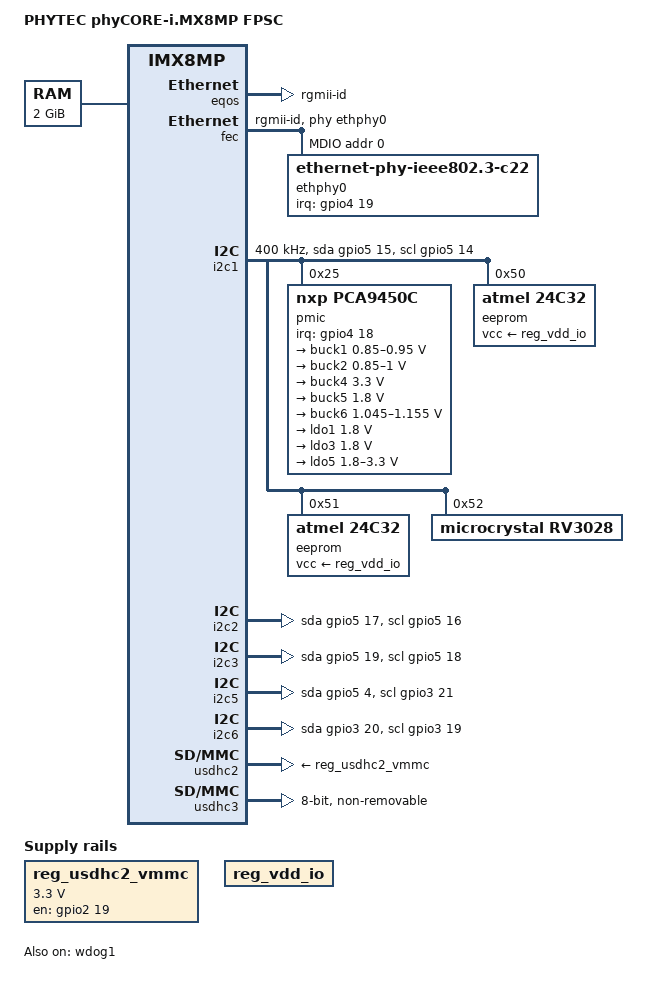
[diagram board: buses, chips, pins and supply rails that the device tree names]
// SPDX-License-Identifier: (GPL-2.0-or-later OR MIT)
/*
 * Copyright (C) 2025 PHYTEC Messtechnik GmbH
 */

#include <dt-bindings/net/ti-dp83867.h>
#include "imx8mp.dtsi"

/ {
	compatible = "phytec,imx8mp-phycore-fpsc", "fsl,imx8mp";
	model = "PHYTEC phyCORE-i.MX8MP FPSC";

	aliases {
		rtc0 = &rv3028;
		rtc1 = &snvs_rtc;
	};

	memory@40000000 {
		device_type = "memory";
		reg = <0x0 0x40000000 0x0 0x80000000>;
	};

	reg_usdhc2_vmmc: regulator-usdhc2 {
		 compatible = "regulator-fixed";
		 off-on-delay-us = <12000>;
		 pinctrl-0 = <&pinctrl_reg_usdhc2_vmmc>;
		 pinctrl-names = "default";
		 regulator-max-microvolt = <3300000>;
		 regulator-min-microvolt = <3300000>;
		 regulator-name = "VDDSW_SD2";
		 startup-delay-us = <100>;
		 gpio = <&gpio2 19 GPIO_ACTIVE_HIGH>;
		 enable-active-high;
	 };

	reg_vdd_io: regulator-vdd-io {
		compatible = "regulator-fixed";
		regulator-always-on;
		regulator-boot-on;
		regulator-name = "VDD_IO";
	};
};

&A53_0 {
	cpu-supply = <&buck2>;
};

&A53_1 {
	cpu-supply = <&buck2>;
};

&A53_2 {
	cpu-supply = <&buck2>;
};

&A53_3 {
	cpu-supply = <&buck2>;
};

&ecspi1 { /* FPSC SPI1 */
	pinctrl-0 = <&pinctrl_ecspi1>;
	pinctrl-names = "default";
};

&ecspi2 { /* FPSC SPI2 */
	pinctrl-0 = <&pinctrl_ecspi2>;
	pinctrl-names = "default";
};

&ecspi3 { /* FPSC SPI3 */
	pinctrl-0 = <&pinctrl_ecspi3>;
	pinctrl-names = "default";
};

&eqos { /* FPSC RGMII2 */
	phy-mode = "rgmii-id";
	pinctrl-0 = <&pinctrl_eqos>;
	pinctrl-names = "default";
};

&fec { /* FPSC GB_ETH1 */
	phy-handle = <&ethphy0>;
	phy-mode = "rgmii-id";
	pinctrl-0 = <&pinctrl_fec>;
	pinctrl-names = "default";
	fsl,magic-packet;
	status = "okay";

	mdio {
		#address-cells = <1>;
		#size-cells = <0>;

		ethphy0: ethernet-phy@0 {
			compatible = "ethernet-phy-ieee802.3-c22";
			reg = <0>;
			interrupt-parent = <&gpio4>;
			interrupts = <19 IRQ_TYPE_LEVEL_LOW>;
			enet-phy-lane-no-swap;
			ti,clk-output-sel = <DP83867_CLK_O_SEL_OFF>;
			ti,fifo-depth = <DP83867_PHYCR_FIFO_DEPTH_4_B_NIB>;
			ti,min-output-impedance;
			ti,rx-internal-delay = <DP83867_RGMIIDCTL_1_50_NS>;
			ti,tx-internal-delay = <DP83867_RGMIIDCTL_1_50_NS>;
		};
	};
};

&flexcan1 { /* FPSC CAN1 */
	pinctrl-0 = <&pinctrl_flexcan1>;
	pinctrl-names = "default";
};

&flexcan2 { /* FPSC CAN2 */
	pinctrl-0 = <&pinctrl_flexcan2>;
	pinctrl-names = "default";
};

&flexspi { /* FPSC QSPI */
	pinctrl-0 = <&pinctrl_flexspi>;
	pinctrl-names = "default";
};

&gpio1 {
	gpio-line-names = "", "", "", "", "",
			  "", "", "", "PCIE1_nPERST";
};

&gpio2 {
	gpio-line-names = "", "", "", "", "",
			  "", "", "", "", "",
			  "", "", "", "", "",
			  "", "", "", "", "SD2_RESET_B";
};

&gpio3 {
	gpio-line-names = "", "", "", "", "",
			  "", "", "", "", "",
			  "", "", "", "", "",
			  "", "", "", "", "I2C6_SCL",
			  "I2C6_SDA", "I2C5_SCL";
};

&gpio4 { /* FPSC GPIO */
	gpio-line-names = "GPIO6", "RGMII2_nINT", "GPIO7", "GPIO4", "",
			  "", "", "", "", "",
			  "", "", "", "", "",
			  "", "", "", "X_PMIC_IRQ_B", "",
			  "", "GPIO5", "", "", "RGMII2_EVENT_OUT",
			  "", "", "RGMII2_EVENT_IN";
	pinctrl-0 = <&pinctrl_gpio4>;
	pinctrl-names = "default";
};

&gpio5 { /* FPSC GPIO */
	gpio-line-names = "", "", "", "", "I2C5_SDA",
			  "GPIO1", "", "", "", "SPI1_CS",
			  "", "", "", "SPI2_CS", "I2C1_SCL",
			  "I2C1_SDA", "I2C2_SCL", "I2C2_SDA", "I2C3_SCL", "I2C3_SDA",
			  "", "GPIO2", "", "", "SPI3_CS",
			  "", "GPIO3";
	pinctrl-0 = <&pinctrl_gpio5>;
	pinctrl-names = "default";
};

&i2c1 { /* FPSC I2C1 */
	clock-frequency = <400000>;
	pinctrl-0 = <&pinctrl_i2c1>;
	pinctrl-1 = <&pinctrl_i2c1_gpio>;
	pinctrl-names = "default", "gpio";
	scl-gpios = <&gpio5 14 (GPIO_ACTIVE_HIGH | GPIO_OPEN_DRAIN)>;
	sda-gpios = <&gpio5 15 (GPIO_ACTIVE_HIGH | GPIO_OPEN_DRAIN)>;
	status = "okay";

	pmic: pmic@25 {
		compatible = "nxp,pca9450c";
		reg = <0x25>;
		interrupt-parent = <&gpio4>;
		interrupts = <18 IRQ_TYPE_LEVEL_LOW>;
		pinctrl-0 = <&pinctrl_pmic>;
		pinctrl-names = "default";

		regulators {
			buck1: BUCK1 {
				regulator-always-on;
				regulator-boot-on;
				regulator-max-microvolt = <950000>;
				regulator-min-microvolt = <850000>;
				regulator-name = "VDD_SOC (BUCK1)";
				regulator-ramp-delay = <3125>;
			};

			buck2: BUCK2 {
				regulator-always-on;
				regulator-boot-on;
				regulator-max-microvolt = <1000000>;
				regulator-min-microvolt = <850000>;
				regulator-name = "VDD_ARM (BUCK2)";
				regulator-ramp-delay = <3125>;
				nxp,dvs-run-voltage = <950000>;
				nxp,dvs-standby-voltage = <850000>;
			};

			buck4: BUCK4 {
				regulator-always-on;
				regulator-boot-on;
				regulator-max-microvolt = <3300000>;
				regulator-min-microvolt = <3300000>;
				regulator-name = "VDD_3V3 (BUCK4)";
			};

			buck5: BUCK5 {
				regulator-always-on;
				regulator-boot-on;
				regulator-max-microvolt = <1800000>;
				regulator-min-microvolt = <1800000>;
				regulator-name = "VDD_1V8 (BUCK5)";
			};

			buck6: BUCK6 {
				regulator-always-on;
				regulator-boot-on;
				regulator-max-microvolt = <1155000>;
				regulator-min-microvolt = <1045000>;
				regulator-name = "NVCC_DRAM_1V1 (BUCK6)";
			};

			ldo1: LDO1 {
				regulator-always-on;
				regulator-boot-on;
				regulator-max-microvolt = <1800000>;
				regulator-min-microvolt = <1800000>;
				regulator-name = "NVCC_SNVS_1V8 (LDO1)";
			};

			ldo3: LDO3 {
				regulator-always-on;
				regulator-boot-on;
				regulator-max-microvolt = <1800000>;
				regulator-min-microvolt = <1800000>;
				regulator-name = "VDDA_1V8 (LDO3)";
			};

			ldo5: LDO5 {
				regulator-always-on;
				regulator-boot-on;
				regulator-max-microvolt = <3300000>;
				regulator-min-microvolt = <1800000>;
				regulator-name = "NVCC_SD2 (LDO5)";
			};
		};
	};

	/* User EEPROM */
	eeprom@50 {
		compatible = "atmel,24c32";
		reg = <0x50>;
		pagesize = <32>;
		vcc-supply = <&reg_vdd_io>;
	};

	/* factory EEPROM */
	eeprom@51 {
		compatible = "atmel,24c32";
		reg = <0x51>;
		pagesize = <32>;
		read-only;
		vcc-supply = <&reg_vdd_io>;
	};

	rv3028: rtc@52 {
		compatible = "microcrystal,rv3028";
		reg = <0x52>;
	};
};

&i2c2 { /* FPSC I2C2 */
	pinctrl-0 = <&pinctrl_i2c2>;
	pinctrl-1 = <&pinctrl_i2c2_gpio>;
	pinctrl-names = "default", "gpio";
	scl-gpios = <&gpio5 16 (GPIO_ACTIVE_HIGH | GPIO_OPEN_DRAIN)>;
	sda-gpios = <&gpio5 17 (GPIO_ACTIVE_HIGH | GPIO_OPEN_DRAIN)>;
};

&i2c3 { /* FPSC I2C3 */
	pinctrl-0 = <&pinctrl_i2c3>;
	pinctrl-1 = <&pinctrl_i2c3_gpio>;
	pinctrl-names = "default", "gpio";
	scl-gpios = <&gpio5 18 (GPIO_ACTIVE_HIGH | GPIO_OPEN_DRAIN)>;
	sda-gpios = <&gpio5 19 (GPIO_ACTIVE_HIGH | GPIO_OPEN_DRAIN)>;
};

&i2c5 { /* FPSC I2C4 */
	pinctrl-0 = <&pinctrl_i2c5>;
	pinctrl-1 = <&pinctrl_i2c5_gpio>;
	pinctrl-names = "default", "gpio";
	scl-gpios = <&gpio3 21 (GPIO_ACTIVE_HIGH | GPIO_OPEN_DRAIN)>;
	sda-gpios = <&gpio5 4 (GPIO_ACTIVE_HIGH | GPIO_OPEN_DRAIN)>;
};

&i2c6 { /* FPSC I2C5 */
	pinctrl-0 = <&pinctrl_i2c6>;
	pinctrl-1 = <&pinctrl_i2c6_gpio>;
	pinctrl-names = "default", "gpio";
	scl-gpios = <&gpio3 19 (GPIO_ACTIVE_HIGH | GPIO_OPEN_DRAIN)>;
	sda-gpios = <&gpio3 20 (GPIO_ACTIVE_HIGH | GPIO_OPEN_DRAIN)>;
};

&iomuxc {
	pinctrl_flexcan1: can1grp {
		fsl,pins = <
			MX8MP_IOMUXC_SAI2_RXC__CAN1_TX		0x154	/* CAN1_TX */
			MX8MP_IOMUXC_SAI2_TXC__CAN1_RX		0x154	/* CAN1_RX */
		>;
	};

	pinctrl_flexcan2: can2grp {
		fsl,pins = <
			MX8MP_IOMUXC_SAI2_TXD0__CAN2_TX		0x154	/* CAN2_TX */
			MX8MP_IOMUXC_UART3_TXD__CAN2_RX		0x154	/* CAN2_RX */
		>;
	};

	pinctrl_eqos: eqosgrp {
		fsl,pins = <
			MX8MP_IOMUXC_SAI1_RXC__GPIO4_IO01				0x10	/* RGMII2_nINT */
			MX8MP_IOMUXC_SAI2_MCLK__GPIO4_IO27				0x10	/* RGMII2_EVENT_IN */
			MX8MP_IOMUXC_SAI2_TXFS__GPIO4_IO24				0x10	/* RGMII2_EVENT_OUT */
			MX8MP_IOMUXC_ENET_MDIO__ENET_QOS_MDIO				0x2	/* RGMII2_MDIO */
			MX8MP_IOMUXC_ENET_MDC__ENET_QOS_MDC				0x2	/* RGMII2_MDC */
			MX8MP_IOMUXC_ENET_TD3__ENET_QOS_RGMII_TD3			0x12	/* RGMII2_TX_D3 */
			MX8MP_IOMUXC_ENET_TD2__ENET_QOS_RGMII_TD2			0x12	/* RGMII2_TX_D2 */
			MX8MP_IOMUXC_ENET_TD1__ENET_QOS_RGMII_TD1			0x12	/* RGMII2_TX_D1 */
			MX8MP_IOMUXC_ENET_TD0__ENET_QOS_RGMII_TD0			0x12	/* RGMII2_TX_D0 */
			MX8MP_IOMUXC_ENET_TX_CTL__ENET_QOS_RGMII_TX_CTL			0x12	/* RGMII2_TX_CTL */
			MX8MP_IOMUXC_ENET_TXC__CCM_ENET_QOS_CLOCK_GENERATE_TX_CLK	0x12	/* RGMII2_TXC */
			MX8MP_IOMUXC_ENET_RD3__ENET_QOS_RGMII_RD3			0x90	/* RGMII2_RX_D3 */
			MX8MP_IOMUXC_ENET_RD2__ENET_QOS_RGMII_RD2			0x90	/* RGMII2_RX_D2 */
			MX8MP_IOMUXC_ENET_RD1__ENET_QOS_RGMII_RD1			0x90	/* RGMII2_RX_D1 */
			MX8MP_IOMUXC_ENET_RD0__ENET_QOS_RGMII_RD0			0x90	/* RGMII2_RX_D0 */
			MX8MP_IOMUXC_ENET_RX_CTL__ENET_QOS_RGMII_RX_CTL			0x90	/* RGMII2_RX_CTL */
			MX8MP_IOMUXC_ENET_RXC__CCM_ENET_QOS_CLOCK_GENERATE_RX_CLK	0x90	/* RGMII2_RXC */
		>;
	};

	pinctrl_fec: fecgrp {
		fsl,pins = <
			MX8MP_IOMUXC_SAI1_RXD2__ENET1_MDC		0x2
			MX8MP_IOMUXC_SAI1_RXD3__ENET1_MDIO		0x2
			MX8MP_IOMUXC_SAI1_RXD4__ENET1_RGMII_RD0		0x90
			MX8MP_IOMUXC_SAI1_RXD5__ENET1_RGMII_RD1		0x90
			MX8MP_IOMUXC_SAI1_RXD6__ENET1_RGMII_RD2		0x90
			MX8MP_IOMUXC_SAI1_RXD7__ENET1_RGMII_RD3		0x90
			MX8MP_IOMUXC_SAI1_TXD7__GPIO4_IO19		0x140
			MX8MP_IOMUXC_SAI1_TXC__ENET1_RGMII_RXC		0x90
			MX8MP_IOMUXC_SAI1_TXD0__ENET1_RGMII_TD0		0x12
			MX8MP_IOMUXC_SAI1_TXD1__ENET1_RGMII_TD1		0x12
			MX8MP_IOMUXC_SAI1_TXD2__ENET1_RGMII_TD2		0x14
			MX8MP_IOMUXC_SAI1_TXD3__ENET1_RGMII_TD3		0x14
			MX8MP_IOMUXC_SAI1_TXD4__ENET1_RGMII_TX_CTL	0x14
			MX8MP_IOMUXC_SAI1_TXD5__ENET1_RGMII_TXC		0x14
			MX8MP_IOMUXC_SAI1_TXFS__ENET1_RGMII_RX_CTL	0x90
		>;
	};

	pinctrl_flexspi: flexspigrp {
		fsl,pins = <
			MX8MP_IOMUXC_NAND_CE0_B__FLEXSPI_A_SS0_B	0x82	/* QSPI_CE */
			MX8MP_IOMUXC_NAND_ALE__FLEXSPI_A_SCLK		0x1c2	/* QSPI_CLK */
			MX8MP_IOMUXC_NAND_DATA00__FLEXSPI_A_DATA00	0x82	/* QSPI_DATA_0 */
			MX8MP_IOMUXC_NAND_DATA01__FLEXSPI_A_DATA01	0x82	/* QSPI_DATA_1 */
			MX8MP_IOMUXC_NAND_DATA02__FLEXSPI_A_DATA02	0x82	/* QSPI_DATA_2 */
			MX8MP_IOMUXC_NAND_DATA03__FLEXSPI_A_DATA03	0x82	/* QSPI_DATA_3 */
			MX8MP_IOMUXC_NAND_DQS__FLEXSPI_A_DQS		0x82	/* QSPI_DQS */
		>;
	};

	pinctrl_gpio4: gpio4grp {
		fsl,pins = <
			MX8MP_IOMUXC_SAI1_RXD1__GPIO4_IO03	0x40	/* GPIO4 */
			MX8MP_IOMUXC_SAI2_RXFS__GPIO4_IO21	0x106	/* GPIO5 */
			MX8MP_IOMUXC_SAI1_RXFS__GPIO4_IO00	0x106	/* GPIO6 */
			MX8MP_IOMUXC_SAI1_RXD0__GPIO4_IO02	0x106	/* GPIO7 */
		>;
	};

	pinctrl_gpio5: gpio5grp {
		fsl,pins = <
			MX8MP_IOMUXC_SPDIF_EXT_CLK__GPIO5_IO05	0x106	/* GPIO1 */
			MX8MP_IOMUXC_I2C4_SDA__GPIO5_IO21	0x106	/* GPIO2 */
			MX8MP_IOMUXC_UART3_RXD__GPIO5_IO26	0x106	/* GPIO3 */
		>;
	};

	pinctrl_hdmi: hdmigrp {
		fsl,pins = <
			MX8MP_IOMUXC_HDMI_CEC__HDMIMIX_HDMI_CEC		0x106	/* HDMI_CEC */
			MX8MP_IOMUXC_HDMI_DDC_SCL__HDMIMIX_HDMI_SCL	0x106	/* HDMI_SCL */
			MX8MP_IOMUXC_HDMI_DDC_SDA__HDMIMIX_HDMI_SDA	0x106	/* HDMI_SDA */
			MX8MP_IOMUXC_HDMI_HPD__HDMIMIX_HDMI_HPD		0x106	/* HDMI_HPD */
		>;
	};

	pinctrl_i2c1_gpio: i2c1gpiogrp {
		fsl,pins = <
			MX8MP_IOMUXC_I2C1_SDA__GPIO5_IO15	0x1e2
			MX8MP_IOMUXC_I2C1_SCL__GPIO5_IO14	0x1e2
		>;
	};

	pinctrl_i2c1: i2c1grp {
		fsl,pins = <
			MX8MP_IOMUXC_I2C1_SDA__I2C1_SDA		0x400001c2	/* I2C1_SDA_DNU */
			MX8MP_IOMUXC_I2C1_SCL__I2C1_SCL		0x400001c2	/* I2C1_SCL_DNU */
		>;
	};

	pinctrl_i2c2_gpio: i2c2gpiogrp {
		fsl,pins = <
			MX8MP_IOMUXC_I2C2_SDA__GPIO5_IO17	0x1e2
			MX8MP_IOMUXC_I2C2_SCL__GPIO5_IO16	0x1e2
		>;
	};

	pinctrl_i2c2: i2c2grp {
		fsl,pins = <
			MX8MP_IOMUXC_I2C2_SDA__I2C2_SDA		0x400001c2	/* I2C2_SDA */
			MX8MP_IOMUXC_I2C2_SCL__I2C2_SCL		0x400001c2	/* I2C2_SCL */
		>;
	};

	pinctrl_i2c3_gpio: i2c3gpiogrp {
		fsl,pins = <
			MX8MP_IOMUXC_I2C3_SDA__GPIO5_IO19	0x1e2
			MX8MP_IOMUXC_I2C3_SCL__GPIO5_IO18	0x1e2
		>;
	};

	pinctrl_i2c3: i2c3grp {
		fsl,pins = <
			MX8MP_IOMUXC_I2C3_SDA__I2C3_SDA		0x400001c2	/* I2C3_SDA */
			MX8MP_IOMUXC_I2C3_SCL__I2C3_SCL		0x400001c2	/* I2C3_SCL */
		>;
	};

	pinctrl_i2c5_gpio: i2c5gpiogrp {
		fsl,pins = <
			MX8MP_IOMUXC_SPDIF_RX__GPIO5_IO04	0x1e2
			MX8MP_IOMUXC_SAI5_RXD0__GPIO3_IO21	0x1e2
		>;
	};

	pinctrl_i2c5: i2c5grp {
		fsl,pins = <
			MX8MP_IOMUXC_SPDIF_RX__I2C5_SDA		0x400001c2	/* I2C4_SDA */
			MX8MP_IOMUXC_SAI5_RXD0__I2C5_SCL	0x400001c2	/* I2C4_SCL */
		>;
	};

	pinctrl_i2c6_gpio: i2c6gpiogrp {
		fsl,pins = <
			MX8MP_IOMUXC_SAI5_RXC__GPIO3_IO20	0x1e2
			MX8MP_IOMUXC_SAI5_RXFS__GPIO3_IO19	0x1e2
		>;
	};

	pinctrl_i2c6: i2c6grp {
		fsl,pins = <
			MX8MP_IOMUXC_SAI5_RXC__I2C6_SDA		0x400001c2	/* I2C5_SDA */
			MX8MP_IOMUXC_SAI5_RXFS__I2C6_SCL	0x400001c2	/* I2C5_SCL */
		>;
	};

	pinctrl_pcie0: pcie0grp {
		fsl,pins = <
			MX8MP_IOMUXC_I2C4_SCL__PCIE_CLKREQ_B	0x10	/* PCIE1_nCLKREQ */
			MX8MP_IOMUXC_GPIO1_IO08__GPIO1_IO08     0x40	/* PCIE1_nPERST */
		>;
	};

	pinctrl_pmic: pmicirqgrp {
		fsl,pins = <
			MX8MP_IOMUXC_SAI1_TXD6__GPIO4_IO18	0x140
		>;
	};

	pinctrl_pwm1: pwm1grp {
		fsl,pins = <
			MX8MP_IOMUXC_GPIO1_IO01__PWM1_OUT	0x106	/* PWM1 */
		>;
	};

	pinctrl_pwm2: pwm2grp {
		fsl,pins = <
			MX8MP_IOMUXC_GPIO1_IO09__PWM2_OUT	0x106	/* PWM2 */
		>;
	};

	pinctrl_pwm3: pwm3grp {
		fsl,pins = <
			MX8MP_IOMUXC_SPDIF_TX__PWM3_OUT		0x106	/* PWM3 */
		>;
	};

	pinctrl_pwm4: pwm4grp {
		fsl,pins = <
			MX8MP_IOMUXC_SAI3_MCLK__PWM4_OUT	0x106	/* PWM4 */
		>;
	};

	pinctrl_reg_usdhc2_vmmc: regusdhc2vmmcgrp {
		fsl,pins = <
			MX8MP_IOMUXC_SD2_RESET_B__GPIO2_IO19    0x40
		>;
	};

	pinctrl_sai5: sai5grp {
		fsl,pins = <
			MX8MP_IOMUXC_SAI5_MCLK__AUDIOMIX_SAI5_MCLK	0x106	/* SAI1_MCLK */
			MX8MP_IOMUXC_SAI3_RXFS__AUDIOMIX_SAI5_RX_SYNC	0x106	/* SAI1_RX_SYNC */
			MX8MP_IOMUXC_SAI3_RXC__AUDIOMIX_SAI5_RX_BCLK	0x106	/* SAI1_RX_BCLK */
			MX8MP_IOMUXC_SAI3_RXD__AUDIOMIX_SAI5_RX_DATA00	0x106	/* SAI1_RX_DATA */
			MX8MP_IOMUXC_SAI5_RXD1__AUDIOMIX_SAI5_TX_SYNC	0x106	/* SAI1_TX_SYNC */
			MX8MP_IOMUXC_SAI5_RXD2__AUDIOMIX_SAI5_TX_BCLK	0x106	/* SAI1_TX_BCLK */
			MX8MP_IOMUXC_SAI2_RXD0__AUDIOMIX_SAI5_TX_DATA00	0x106	/* SAI1_TX_DATA */
		>;
	};

	pinctrl_ecspi1: spi1grp {
		fsl,pins = <
			MX8MP_IOMUXC_ECSPI1_SCLK__ECSPI1_SCLK	0x82	/* SPI1_SCLK */
			MX8MP_IOMUXC_ECSPI1_MOSI__ECSPI1_MOSI	0x82	/* SPI1_MOSI */
			MX8MP_IOMUXC_ECSPI1_MISO__ECSPI1_MISO	0x82	/* SPI1_MISO */
			MX8MP_IOMUXC_ECSPI1_SS0__GPIO5_IO09	0x106	/* SPI1_CS */
		>;
	};

	pinctrl_ecspi2: spi2grp {
		fsl,pins = <
			MX8MP_IOMUXC_ECSPI2_SCLK__ECSPI2_SCLK	0x82	/* SPI2_SCLK */
			MX8MP_IOMUXC_ECSPI2_MOSI__ECSPI2_MOSI	0x82	/* SPI2_MOSI */
			MX8MP_IOMUXC_ECSPI2_MISO__ECSPI2_MISO	0x82	/* SPI2_MISO */
			MX8MP_IOMUXC_ECSPI2_SS0__GPIO5_IO13	0x106     /* SPI2_CS */
		>;
	};

	pinctrl_ecspi3: spi3grp {
		fsl,pins = <
			MX8MP_IOMUXC_UART1_RXD__ECSPI3_SCLK	0x82	/* SPI3_SCLK */
			MX8MP_IOMUXC_UART1_TXD__ECSPI3_MOSI	0x82	/* SPI3_MOSI */
			MX8MP_IOMUXC_UART2_RXD__ECSPI3_MISO	0x82	/* SPI3_MISO */
			MX8MP_IOMUXC_UART2_RXD__GPIO5_IO24	0x106     /* SPI3_CS */
		>;
	};

	pinctrl_uart2: uart2grp {
		fsl,pins = <
			MX8MP_IOMUXC_SAI3_TXC__UART2_DTE_RX	0x140	/* UART2_RXD */
			MX8MP_IOMUXC_SAI3_TXFS__UART2_DTE_TX	0x140	/* UART2_TXD */
			MX8MP_IOMUXC_SD1_DATA5__UART2_DTE_RTS	0x140	/* UART2_RTS */
			MX8MP_IOMUXC_SD1_DATA4__UART2_DTE_CTS	0x140	/* UART2_CTS */
		>;
	};

	pinctrl_uart3: uart3grp {
		fsl,pins = <
			MX8MP_IOMUXC_SD1_DATA6__UART3_DTE_RX	0x140	/* UART1_RXD */
			MX8MP_IOMUXC_SD1_DATA7__UART3_DTE_TX	0x140	/* UART1_TXD */
			MX8MP_IOMUXC_SD1_STROBE__UART3_DTE_RTS	0x140	/* UART1_RTS */
			MX8MP_IOMUXC_SD1_RESET_B__UART3_DTE_CTS	0x140	/* UART1_CTS */
		>;
	};

	pinctrl_uart4: uart4grp {
		fsl,pins = <
			MX8MP_IOMUXC_UART4_RXD__UART4_DCE_RX	0x140	/* UART3_RXD */
			MX8MP_IOMUXC_UART4_TXD__UART4_DCE_TX	0x140	/* UART3_TXD */
		>;
	};

	pinctrl_usb0: usb0grp {
		fsl,pins = <
			MX8MP_IOMUXC_GPIO1_IO12__USB1_OTG_PWR	0x106	/* USB1_PWR_EN */
			MX8MP_IOMUXC_GPIO1_IO13__USB1_OTG_OC	0x106	/* USB1_OC */
			MX8MP_IOMUXC_GPIO1_IO10__USB1_OTG_ID	0x106	/* USB1_ID */
		>;
	};

	pinctrl_usb1: usb1grp {
		fsl,pins = <
			MX8MP_IOMUXC_GPIO1_IO14__USB2_OTG_PWR	0x106	/* USB2_PWR_EN */
			MX8MP_IOMUXC_GPIO1_IO15__USB2_OTG_OC	0x106	/* USB2_OC */
			MX8MP_IOMUXC_GPIO1_IO11__USB2_OTG_ID	0x106	/* USB2_ID */
		>;
	};

	pinctrl_usdhc1: usdhc1grp {
		fsl,pins = <
			MX8MP_IOMUXC_GPIO1_IO07__USDHC1_WP	0x106	/* SDIO_WP */
			MX8MP_IOMUXC_GPIO1_IO06__USDHC1_CD_B	0x106	/* SDIO_CD */
			MX8MP_IOMUXC_SD1_CLK__USDHC1_CLK	0x106	/* SDIO_CLK */
			MX8MP_IOMUXC_SD1_CMD__USDHC1_CMD	0x106	/* SDIO_CLK */
			MX8MP_IOMUXC_SD1_DATA0__USDHC1_DATA0	0x106	/* SDIO_DATA0 */
			MX8MP_IOMUXC_SD1_DATA1__USDHC1_DATA1	0x106	/* SDIO_DATA1 */
			MX8MP_IOMUXC_SD1_DATA2__USDHC1_DATA2	0x106	/* SDIO_DATA2 */
			MX8MP_IOMUXC_SD1_DATA3__USDHC1_DATA3	0x106	/* SDIO_DATA3 */
		>;
	};

	pinctrl_usdhc2: usdhc2grp {
		fsl,pins = <
			MX8MP_IOMUXC_SD2_CD_B__USDHC2_CD_B	0x40	/* SDCARD_CD */
			MX8MP_IOMUXC_SD2_WP__USDHC2_WP		0x40	/* SDCARD_WP */
			MX8MP_IOMUXC_SD2_CLK__USDHC2_CLK	0x190	/* SDCARD_CLK */
			MX8MP_IOMUXC_SD2_CMD__USDHC2_CMD	0x1d0	/* SDCARD_CMD */
			MX8MP_IOMUXC_SD2_DATA0__USDHC2_DATA0	0x1d0	/* SDCARD_DATA0 */
			MX8MP_IOMUXC_SD2_DATA1__USDHC2_DATA1	0x1d0	/* SDCARD_DATA1 */
			MX8MP_IOMUXC_SD2_DATA2__USDHC2_DATA2	0x1d0	/* SDCARD_DATA2 */
			MX8MP_IOMUXC_SD2_DATA3__USDHC2_DATA3	0x1d0	/* SDCARD_DATA3 */
			MX8MP_IOMUXC_GPIO1_IO04__USDHC2_VSELECT	0xc0
		>;
	};

	pinctrl_usdhc2_100mhz: usdhc2-100mhzgrp {
		fsl,pins = <
			MX8MP_IOMUXC_SD2_CD_B__USDHC2_CD_B	0x40	/* SDCARD_CD */
			MX8MP_IOMUXC_SD2_WP__USDHC2_WP		0x40	/* SDCARD_WP */
			MX8MP_IOMUXC_SD2_CLK__USDHC2_CLK	0x194	/* SDCARD_CLK */
			MX8MP_IOMUXC_SD2_CMD__USDHC2_CMD	0x1d4	/* SDCARD_CMD */
			MX8MP_IOMUXC_SD2_DATA0__USDHC2_DATA0	0x1d4	/* SDCARD_DATA0 */
			MX8MP_IOMUXC_SD2_DATA1__USDHC2_DATA1	0x1d4	/* SDCARD_DATA1 */
			MX8MP_IOMUXC_SD2_DATA2__USDHC2_DATA2	0x1d4	/* SDCARD_DATA2 */
			MX8MP_IOMUXC_SD2_DATA3__USDHC2_DATA3	0x1d4	/* SDCARD_DATA3 */
			MX8MP_IOMUXC_GPIO1_IO04__USDHC2_VSELECT	0xc0
		>;
	};

	pinctrl_usdhc2_200mhz: usdhc2-200mhzgrp {
		fsl,pins = <
			MX8MP_IOMUXC_SD2_CD_B__USDHC2_CD_B	0x40	/* SDCARD_CD */
			MX8MP_IOMUXC_SD2_WP__USDHC2_WP		0x40	/* SDCARD_WP */
			MX8MP_IOMUXC_SD2_CLK__USDHC2_CLK	0x196	/* SDCARD_CLK */
			MX8MP_IOMUXC_SD2_CMD__USDHC2_CMD	0x1d6	/* SDCARD_CMD */
			MX8MP_IOMUXC_SD2_DATA0__USDHC2_DATA0	0x1d6	/* SDCARD_DATA0 */
			MX8MP_IOMUXC_SD2_DATA1__USDHC2_DATA1	0x1d6	/* SDCARD_DATA1 */
			MX8MP_IOMUXC_SD2_DATA2__USDHC2_DATA2	0x1d6	/* SDCARD_DATA2 */
			MX8MP_IOMUXC_SD2_DATA3__USDHC2_DATA3	0x1d6	/* SDCARD_DATA3 */
			MX8MP_IOMUXC_GPIO1_IO04__USDHC2_VSELECT	0xc0
		>;
	};

	pinctrl_usdhc3: usdhc3grp {
		fsl,pins = <
			MX8MP_IOMUXC_NAND_CE1_B__USDHC3_STROBE	0x190
			MX8MP_IOMUXC_NAND_CE2_B__USDHC3_DATA5	0x1d0
			MX8MP_IOMUXC_NAND_CE3_B__USDHC3_DATA6	0x1d0
			MX8MP_IOMUXC_NAND_CLE__USDHC3_DATA7	0x1d0
			MX8MP_IOMUXC_NAND_DATA04__USDHC3_DATA0	0x1d0
			MX8MP_IOMUXC_NAND_DATA05__USDHC3_DATA1	0x1d0
			MX8MP_IOMUXC_NAND_DATA06__USDHC3_DATA2	0x1d0
			MX8MP_IOMUXC_NAND_DATA07__USDHC3_DATA3	0x1d0
			MX8MP_IOMUXC_NAND_RE_B__USDHC3_DATA4	0x1d0
			MX8MP_IOMUXC_NAND_WE_B__USDHC3_CLK	0x190
			MX8MP_IOMUXC_NAND_WP_B__USDHC3_CMD	0x1d0
		>;
	};

	pinctrl_usdhc3_100mhz: usdhc3-100mhzgrp {
		fsl,pins = <
			MX8MP_IOMUXC_NAND_CE1_B__USDHC3_STROBE	0x194
			MX8MP_IOMUXC_NAND_CE2_B__USDHC3_DATA5	0x1d4
			MX8MP_IOMUXC_NAND_CE3_B__USDHC3_DATA6	0x1d4
			MX8MP_IOMUXC_NAND_CLE__USDHC3_DATA7	0x1d4
			MX8MP_IOMUXC_NAND_DATA04__USDHC3_DATA0	0x1d4
			MX8MP_IOMUXC_NAND_DATA05__USDHC3_DATA1	0x1d4
			MX8MP_IOMUXC_NAND_DATA06__USDHC3_DATA2	0x1d4
			MX8MP_IOMUXC_NAND_DATA07__USDHC3_DATA3	0x1d4
			MX8MP_IOMUXC_NAND_RE_B__USDHC3_DATA4	0x1d4
			MX8MP_IOMUXC_NAND_WE_B__USDHC3_CLK	0x194
			MX8MP_IOMUXC_NAND_WP_B__USDHC3_CMD	0x1d4
		>;
	};

	pinctrl_usdhc3_200mhz: usdhc3-200mhzgrp {
		fsl,pins = <
			MX8MP_IOMUXC_NAND_CE1_B__USDHC3_STROBE	0x196
			MX8MP_IOMUXC_NAND_CE2_B__USDHC3_DATA5	0x1d2
			MX8MP_IOMUXC_NAND_CE3_B__USDHC3_DATA6	0x1d2
			MX8MP_IOMUXC_NAND_CLE__USDHC3_DATA7	0x1d2
			MX8MP_IOMUXC_NAND_DATA04__USDHC3_DATA0	0x1d2
			MX8MP_IOMUXC_NAND_DATA05__USDHC3_DATA1	0x1d2
			MX8MP_IOMUXC_NAND_DATA06__USDHC3_DATA2	0x1d2
			MX8MP_IOMUXC_NAND_DATA07__USDHC3_DATA3	0x1d2
			MX8MP_IOMUXC_NAND_RE_B__USDHC3_DATA4	0x1d2
			MX8MP_IOMUXC_NAND_WE_B__USDHC3_CLK	0x196
			MX8MP_IOMUXC_NAND_WP_B__USDHC3_CMD	0x1d6
		>;
	};

	pinctrl_wdog: wdoggrp {
		fsl,pins = <
			MX8MP_IOMUXC_GPIO1_IO02__WDOG1_WDOG_B	0xe6
		>;
	};
};

&pcie { /* FPSC PCIE1 */
	pinctrl-0 = <&pinctrl_pcie0>;
	pinctrl-names = "default";
};

&pwm1 { /* FPSC PWM1 */
	pinctrl-0 = <&pinctrl_pwm1>;
	pinctrl-names = "default";
};

&pwm2 { /* FPSC PWM2 */
	pinctrl-0 = <&pinctrl_pwm2>;
	pinctrl-names = "default";
};

&pwm3 { /* FPSC PWM3 */
	pinctrl-0 = <&pinctrl_pwm3>;
	pinctrl-names = "default";
};

&pwm4 { /* FPSC PWM4 */
	pinctrl-0 = <&pinctrl_pwm4>;
	pinctrl-names = "default";
};

&sai5 { /* FPSC SAI1 */
	pinctrl-0 = <&pinctrl_sai5>;
	pinctrl-names = "default";
};

&uart2 { /* FPSC UART2 */
	pinctrl-0 = <&pinctrl_uart2>;
	pinctrl-names = "default";
	fsl,dte-mode;
};

&uart3 { /* FPSC UART1 */
	pinctrl-0 = <&pinctrl_uart3>;
	pinctrl-names = "default";
	fsl,dte-mode;
};

&uart4 { /* FPSC UART3 */
	pinctrl-0 = <&pinctrl_uart4>;
	pinctrl-names = "default";
};

&usb3_0 { /* FPSC USB1 */
	pinctrl-0 = <&pinctrl_usb0>;
	pinctrl-names = "default";
};

&usb3_1 { /* FPSC USB2 */
	pinctrl-0 = <&pinctrl_usb1>;
	pinctrl-names = "default";
};

&usdhc1 { /* FPSC SDIO */
	pinctrl-0 = <&pinctrl_usdhc1>;
	pinctrl-names = "default";
};

&usdhc2 { /* FPSC SDCARD */
	pinctrl-0 = <&pinctrl_usdhc2>;
	pinctrl-1 = <&pinctrl_usdhc2_100mhz>;
	pinctrl-2 = <&pinctrl_usdhc2_200mhz>;
	pinctrl-names = "default", "state_100mhz", "state_200mhz";
	sd-uhs-sdr104;
	vmmc-supply = <&reg_usdhc2_vmmc>;
	vqmmc-supply = <&ldo5>;
};

/* eMMC */
&usdhc3 {
	assigned-clocks = <&clk IMX8MP_CLK_USDHC3_ROOT>;
	assigned-clock-rates = <400000000>;
	bus-width = <8>;
	non-removable;
	pinctrl-0 = <&pinctrl_usdhc3>;
	pinctrl-1 = <&pinctrl_usdhc3_100mhz>;
	pinctrl-2 = <&pinctrl_usdhc3_200mhz>;
	pinctrl-names = "default", "state_100mhz", "state_200mhz";
	status = "okay";
};

&wdog1 {
	pinctrl-0 = <&pinctrl_wdog>;
	pinctrl-names = "default";
	fsl,ext-reset-output;
	status = "okay";
};
